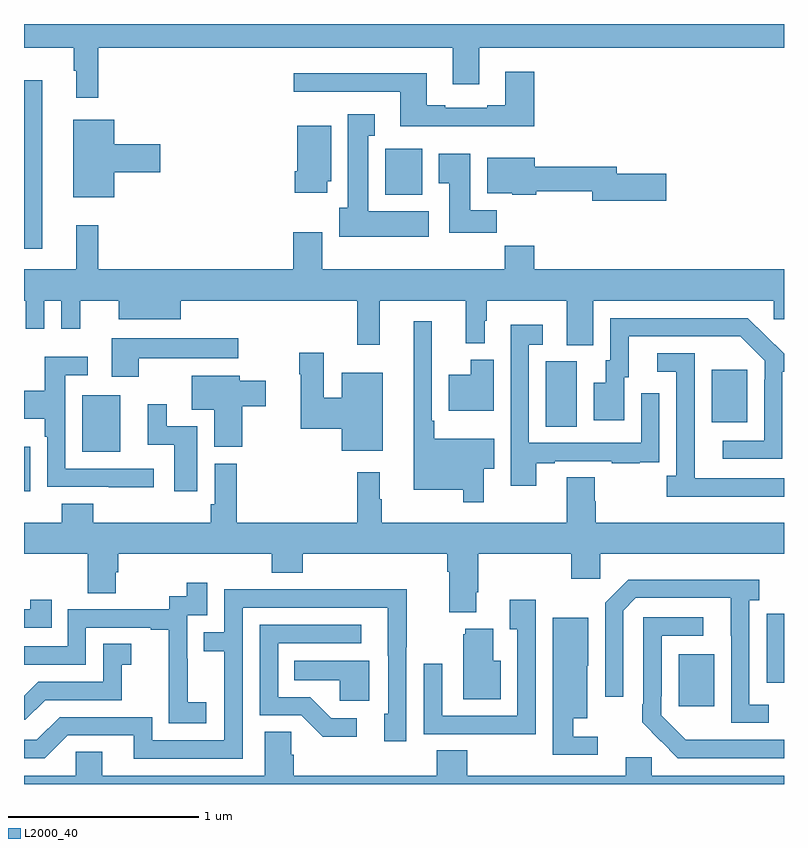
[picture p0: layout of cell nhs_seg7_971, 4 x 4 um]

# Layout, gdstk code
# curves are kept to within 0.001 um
import gdstk
lib = gdstk.Library(unit=1e-6, precision=1e-09)
def R(c, l, rs):  # rectangles x0, y0, x1, y1
    for r in rs: c.add(gdstk.rectangle(r[:2], r[2:], *l))
def P(c, l, *ps):  # polygons
    for p in ps: c.add(gdstk.Polygon(p, *l))
L2000_40 = (2000, 40)

nhs_seg7_971 = lib.new_cell('nhs_seg7_971')
R(nhs_seg7_971, L2000_40, [(184.445,1070.409,184.633,1070.683), (181,1071.54,181.033,1071.775), (181.307,1071.749,181.507,1072.045), (183.746,1071.88,183.91,1072.224), (184.619,1071.905,184.807,1072.18), (181,1072.818,181.096,1073.704), (182.9,1073.102,183.097,1073.344)])
P(nhs_seg7_971, L2000_40, [(183.257,1073.682),(183.397,1073.682),(183.397,1073.876),(185,1073.876),(185,1074),(181,1074),(181,1073.876),(181.263,1073.876),(181.263,1073.753),(181.274,1073.753),(181.274,1073.613),(181.391,1073.613),(181.391,1073.876),(183.257,1073.876)],
  [(183.686,1073.749),(183.533,1073.749),(183.533,1073.572),(183.437,1073.572),(183.437,1073.559),(183.217,1073.559),(183.217,1073.572),(183.121,1073.572),(183.121,1073.74),(182.421,1073.74),(182.421,1073.643),(182.981,1073.643),(182.981,1073.462),(183.686,1073.462)],
  [(183.13,1073.014),(182.812,1073.014),(182.812,1073.411),(182.845,1073.411),(182.845,1073.524),(182.705,1073.524),(182.705,1073.034),(182.66,1073.034),(182.66,1072.88),(183.13,1072.88)],
  [(181.474,1073.219),(181.717,1073.219),(181.717,1073.366),(181.474,1073.366),(181.474,1073.497),(181.259,1073.497),(181.259,1073.087),(181.474,1073.087)],
  [(182.596,1073.172),(182.617,1073.172),(182.617,1073.464),(182.438,1073.464),(182.438,1073.224),(182.426,1073.224),(182.426,1073.112),(182.596,1073.112)],
  [(183.488,1073.02),(183.349,1073.02),(183.349,1073.317),(183.182,1073.317),(183.182,1073.161),(183.239,1073.161),(183.239,1072.902),(183.488,1072.902)],
  [(184.381,1073.213),(184.12,1073.213),(184.12,1073.249),(183.688,1073.249),(183.688,1073.296),(183.437,1073.296),(183.437,1073.108),(183.57,1073.108),(183.57,1073.102),(183.696,1073.102),(183.696,1073.121),(183.992,1073.121),(183.992,1073.071),(184.381,1073.071)],
  [(183.997,1072.544),(184.947,1072.544),(184.947,1072.446),(185,1072.446),(185,1072.708),(183.686,1072.708),(183.686,1072.832),(183.529,1072.832),(183.529,1072.708),(182.569,1072.708),(182.569,1072.903),(182.417,1072.903),(182.417,1072.708),(181.391,1072.708),(181.391,1072.942),(181.274,1072.942),(181.274,1072.708),(181,1072.708),(181,1072.544),(181.01,1072.544),(181.01,1072.395),(181.107,1072.395),(181.107,1072.544),(181.197,1072.544),(181.197,1072.395),(181.295,1072.395),(181.295,1072.544),(181.499,1072.544),(181.499,1072.445),(181.825,1072.445),(181.825,1072.544),(182.755,1072.544),(182.755,1072.311),(182.873,1072.311),(182.873,1072.544),(183.326,1072.544),(183.326,1072.319),(183.424,1072.319),(183.424,1072.437),(183.436,1072.437),(183.436,1072.544),(183.857,1072.544),(183.857,1072.309),(183.997,1072.309)],
  [(184.992,1072.169),(185,1072.169),(185,1072.264),(184.81,1072.452),(184.086,1072.452),(184.086,1072.23),(184.061,1072.23),(184.061,1072.111),(183.998,1072.111),(183.998,1071.915),(184.159,1071.915),(184.159,1072.14),(184.183,1072.14),(184.183,1072.356),(184.771,1072.356),(184.899,1072.227),(184.899,1072.127),(184.896,1072.127),(184.896,1071.807),(184.677,1071.807),(184.677,1071.711),(184.992,1071.711)],
  [(183.421,1071.659),(183.475,1071.659),(183.475,1071.817),(183.16,1071.817),(183.16,1071.913),(183.147,1071.913),(183.147,1072.435),(183.05,1072.435),(183.05,1071.548),(183.312,1071.548),(183.312,1071.483),(183.421,1071.483)],
  [(183.697,1071.687),(183.793,1071.687),(183.793,1071.699),(184.093,1071.699),(184.093,1071.687),(184.241,1071.687),(184.241,1071.693),(184.343,1071.693),(184.343,1071.802),(184.344,1071.802),(184.344,1072.057),(184.248,1072.057),(184.248,1071.795),(183.657,1071.795),(183.657,1072.311),(183.73,1072.311),(183.73,1072.417),(183.561,1072.417),(183.561,1071.57),(183.697,1071.57)],
  [(181.603,1072.241),(182.128,1072.241),(182.128,1072.345),(181.463,1072.345),(181.463,1072.143),(181.603,1072.143)],
  [(182.887,1072.165),(182.672,1072.165),(182.672,1072.034),(182.578,1072.034),(182.578,1072.27),(182.449,1072.27),(182.449,1072.157),(182.456,1072.157),(182.456,1071.869),(182.672,1071.869),(182.672,1071.755),(182.887,1071.755)],
  [(185,1071.609),(184.531,1071.609),(184.531,1071.809),(184.53,1071.809),(184.53,1072.266),(184.332,1072.266),(184.332,1072.17),(184.434,1072.17),(184.434,1071.622),(184.383,1071.622),(184.383,1071.512),(185,1071.512)],
  [(181.684,1071.66),(181.218,1071.66),(181.218,1072.152),(181.336,1072.152),(181.336,1072.249),(181.11,1072.249),(181.11,1072.071),(181,1072.071),(181,1071.923),(181.11,1071.923),(181.11,1071.827),(181.122,1071.827),(181.122,1071.564),(181.447,1071.564),(181.447,1071.563),(181.684,1071.563)],
  [(183.472,1072.234),(183.35,1072.234),(183.35,1072.153),(183.236,1072.153),(183.236,1071.965),(183.472,1071.965)],
  [(182.148,1071.989),(182.272,1071.989),(182.272,1072.123),(182.136,1072.123),(182.136,1072.15),(181.883,1072.15),(181.883,1071.971),(182,1071.971),(182,1071.774),(182.148,1071.774)],
  [(181.912,1071.882),(181.75,1071.882),(181.75,1072),(181.652,1072),(181.652,1071.786),(181.79,1071.786),(181.79,1071.54),(181.912,1071.54)],
  [(183.379,1071.01),(183.392,1071.01),(183.392,1071.212),(183.881,1071.212),(183.881,1071.081),(184.032,1071.081),(184.032,1071.212),(185,1071.212),(185,1071.376),(184.01,1071.376),(184.01,1071.489),(184.005,1071.489),(184.005,1071.614),(183.857,1071.614),(183.857,1071.376),(182.884,1071.376),(182.884,1071.5),(182.872,1071.5),(182.872,1071.64),(182.755,1071.64),(182.755,1071.376),(182.12,1071.376),(182.12,1071.685),(182.004,1071.685),(182.004,1071.472),(181.984,1071.472),(181.984,1071.376),(181.364,1071.376),(181.364,1071.475),(181.199,1071.475),(181.199,1071.376),(181,1071.376),(181,1071.212),(181.336,1071.212),(181.336,1071.004),(181.483,1071.004),(181.483,1071.114),(181.496,1071.114),(181.496,1071.212),(182.303,1071.212),(182.303,1071.113),(182.468,1071.113),(182.468,1071.212),(183.227,1071.212),(183.227,1071.116),(183.239,1071.116),(183.239,1070.903),(183.379,1070.903)],
  [(184.921,1070.418),(184.818,1070.418),(184.818,1070.966),(184.87,1070.966),(184.87,1071.076),(184.18,1071.076),(184.059,1070.955),(184.059,1070.46),(184.155,1070.46),(184.155,1070.913),(184.221,1070.979),(184.721,1070.979),(184.722,1070.322),(184.921,1070.322)],
  [(181.96,1070.431),(181.862,1070.431),(181.862,1070.66),(181.86,1070.66),(181.86,1070.889),(181.965,1070.889),(181.965,1071.058),(181.857,1071.058),(181.857,1070.988),(181.764,1070.988),(181.764,1070.919),(181.23,1070.919),(181.23,1070.724),(181,1070.724),(181,1070.628),(181.326,1070.628),(181.326,1070.823),(181.667,1070.823),(181.667,1070.811),(181.763,1070.811),(181.763,1070.527),(181.762,1070.527),(181.762,1070.321),(181.96,1070.321)],
  [(182.151,1070.928),(182.915,1070.928),(182.916,1070.37),(182.897,1070.37),(182.897,1070.226),(183.012,1070.226),(183.012,1070.719),(183.015,1070.719),(183.015,1071.026),(182.551,1071.026),(182.551,1071.024),(182.055,1071.024),(182.055,1070.799),(181.945,1070.799),(181.945,1070.698),(182.055,1070.698),(182.055,1070.229),(181.674,1070.229),(181.674,1070.352),(181.188,1070.352),(181.068,1070.232),(181,1070.232),(181,1070.136),(181.11,1070.136),(181.23,1070.256),(181.577,1070.256),(181.577,1070.133),(182.151,1070.133)],
  [(183.693,1070.971),(183.557,1070.971),(183.557,1070.815),(183.597,1070.815),(183.597,1070.358),(183.201,1070.358),(183.201,1070.632),(183.105,1070.632),(183.105,1070.262),(183.421,1070.262),(183.421,1070.261),(183.693,1070.261)],
  [(181.145,1070.971),(181.034,1070.971),(181.034,1070.919),(181,1070.919),(181,1070.823),(181.145,1070.823)],
  [(185,1070.895),(184.909,1070.895),(184.909,1070.786),(184.908,1070.786),(184.908,1070.532),(185,1070.532)],
  [(185,1070.232),(184.482,1070.233),(184.353,1070.361),(184.353,1070.461),(184.356,1070.461),(184.356,1070.781),(184.576,1070.781),(184.576,1070.877),(184.26,1070.877),(184.26,1070.419),(184.253,1070.419),(184.253,1070.324),(184.35,1070.226),(184.351,1070.227),(184.442,1070.136),(185,1070.136)],
  [(184.021,1070.25),(183.892,1070.25),(183.892,1070.345),(183.964,1070.345),(183.964,1070.622),(183.97,1070.622),(183.97,1070.875),(183.782,1070.875),(183.782,1070.449),(183.783,1070.449),(183.783,1070.154),(184.021,1070.154)],
  [(182.752,1070.346),(182.617,1070.346),(182.506,1070.457),(182.337,1070.457),(182.337,1070.742),(182.776,1070.742),(182.776,1070.838),(182.241,1070.838),(182.241,1070.361),(182.46,1070.361),(182.573,1070.249),(182.752,1070.249)],
  [(183.508,1070.65),(183.469,1070.65),(183.469,1070.818),(183.323,1070.818),(183.323,1070.787),(183.311,1070.787),(183.311,1070.447),(183.508,1070.447)],
  [(181.111,1070.442),(181.515,1070.442),(181.515,1070.627),(181.564,1070.627),(181.564,1070.737),(181.416,1070.737),(181.416,1070.538),(181.074,1070.538),(181,1070.464),(181,1070.337),(181.006,1070.337)],
  [(182.818,1070.65),(182.422,1070.65),(182.422,1070.546),(182.661,1070.546),(182.661,1070.438),(182.818,1070.438)],
  [(185,1070.044),(184.305,1070.044),(184.305,1070.142),(184.166,1070.142),(184.166,1070.044),(183.333,1070.044),(183.333,1070.177),(183.173,1070.177),(183.173,1070.044),(182.42,1070.044),(182.42,1070.153),(182.406,1070.153),(182.406,1070.276),(182.267,1070.276),(182.267,1070.044),(181.411,1070.044),(181.411,1070.171),(181.272,1070.171),(181.272,1070.044),(181,1070.044),(181,1070),(185,1070)])

lib.write_gds('nhs_seg7_971.gds')
